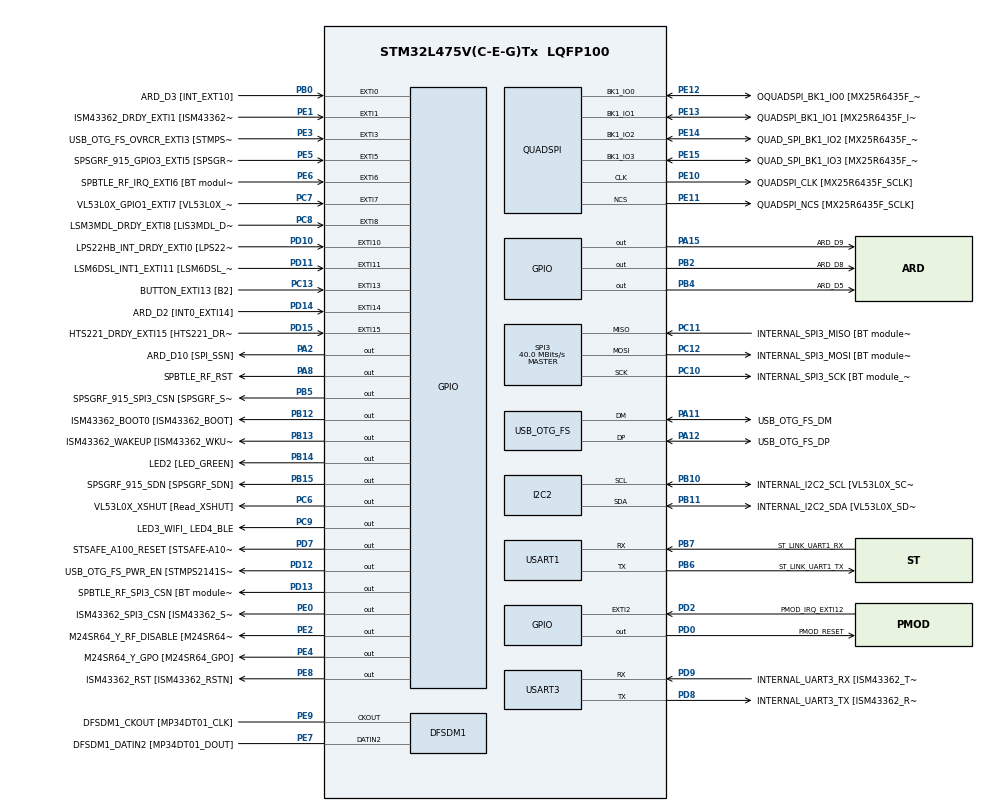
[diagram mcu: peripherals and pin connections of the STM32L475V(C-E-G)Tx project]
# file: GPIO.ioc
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Mcu.Family=STM32L4
Mcu.Name=STM32L475V(C-E-G)Tx
Mcu.Package=LQFP100
NVIC.EXTI15_10_IRQn=true\:0\:0\:false\:false\:true\:true\:true\:true
NVIC.EXTI9_5_IRQn=true\:0\:0\:false\:false\:true\:true\:true\:true
NVIC.PriorityGroup=NVIC_PRIORITYGROUP_4
PA0.GPIO_Label=ARD_D1 [UART4_TX]
PA0.Signal=UART4_TX
PA1.GPIO_Label=ARD_D0 [UART4_RX]
PA1.Signal=UART4_RX
PA10.GPIO_Label=USB_OTG_FS_ID
PA10.Signal=USB_OTG_FS_ID
PA11.GPIO_Label=USB_OTG_FS_DM
PA11.Mode=Device_Only
PA11.Signal=USB_OTG_FS_DM
PA12.GPIO_Label=USB_OTG_FS_DP
PA12.Mode=Device_Only
PA12.Signal=USB_OTG_FS_DP
PA13\ (JTMS-SWDIO).GPIO_Label=SYS_JTMS_SWDIO
PA13\ (JTMS-SWDIO).Mode=Serial_Wire
PA13\ (JTMS-SWDIO).Signal=SYS_JTMS-SWDIO
PA14\ (JTCK-SWCLK).GPIO_Label=SYS_JTCK_SWCLK
PA14\ (JTCK-SWCLK).Mode=Serial_Wire
PA14\ (JTCK-SWCLK).Signal=SYS_JTCK-SWCLK
PA15\ (JTDI).GPIO_Label=ARD_D9
PA15\ (JTDI).Signal=GPIO_Output
PA2.GPIO_Label=ARD_D10 [SPI_SSN]
PA2.Signal=GPIO_Output
PA3.GPIO_Label=ARD_D4
PA3.Signal=S_TIM2_CH4
PA4.GPIO_Label=ARD_D7
PA4.Signal=ADCx_IN9
PA5.GPIO_Label=ARD_D13 [SPI1_SCK]
PA5.Signal=SPI1_SCK
PA6.GPIO_Label=ARD_D12 [SPI1_MISO]
PA6.Signal=SPI1_MISO
PA7.GPIO_Label=ARD_D11 [SPI1_MOSI]
PA7.Signal=SPI1_MOSI
PA8.GPIO_Label=SPBTLE_RF_RST
PA8.Signal=GPIO_Output
PA9.GPIO_Label=USB_OTG_FS_VBUS [STMPS2141STR_OUT]
PA9.Signal=USB_OTG_FS_VBUS
PB0.GPIO_Label=ARD_D3 [INT_EXT10]
PB0.Signal=GPXTI0
PB1.GPIO_Label=ARD_D6 [ADC1_IN6]
PB1.Signal=ADCx_IN16
PB10.GPIO_Label=INTERNAL_I2C2_SCL [VL53L0X_SCL]
PB10.GPIO_Pu=GPIO_PULLUP
PB10.Mode=I2C
PB10.Signal=I2C2_SCL
PB11.GPIO_Label=INTERNAL_I2C2_SDA [VL53L0X_SDA]
PB11.GPIO_Pu=GPIO_PULLUP
PB11.Mode=I2C
PB11.Signal=I2C2_SDA
PB12.GPIO_Label=ISM43362_BOOT0 [ISM43362_BOOT]
PB12.Signal=GPIO_Output
PB13.GPIO_Label=ISM43362_WAKEUP [ISM43362_WKUP]
PB13.Signal=GPIO_Output
PB14.GPIO_Label=LED2 [LED_GREEN]
PB14.Signal=GPIO_Output
PB15.GPIO_Label=SPSGRF_915_SDN [SPSGRF_SDN]
PB15.Signal=GPIO_Output
PB2.GPIO_Label=ARD_D8
PB2.Signal=GPIO_Output
PB3\ (JTDO-TRACESWO).GPIO_Label=SYS_JTD0_SWO
PB3\ (JTDO-TRACESWO).Signal=SYS_JTDO-SWO
PB4\ (NJTRST).GPIO_Label=ARD_D5
PB4\ (NJTRST).Signal=GPIO_Output
PB5.GPIO_Label=SPSGRF_915_SPI3_CSN [SPSGRF_SPI_CS]
PB5.PinState=GPIO_PIN_SET
PB5.Signal=GPIO_Output
PB6.GPIO_Label=ST_LINK_UART1_TX
PB6.Mode=Asynchronous
PB6.Signal=USART1_TX
PB7.GPIO_Label=ST_LINK_UART1_RX
PB7.Mode=Asynchronous
PB7.Signal=USART1_RX
PB8.GPIO_Label=ARD_D15 [I2C1_SCL]
PB8.Signal=I2C1_SCL
PB9.GPIO_Label=ARD_D14 [I2C1_SDA]
PB9.Signal=I2C1_SDA
PC0.GPIO_Label=ARD_A5 [ADC]
PC0.Signal=ADCx_IN1
PC1.GPIO_Label=ARD_A4 [ADC]
PC1.Signal=ADCx_IN2
PC10.GPIO_Label=INTERNAL_SPI3_SCK [BT module_SPI_SCLK] [ISM43362_SCK]
PC10.Mode=Full_Duplex_Master
PC10.Signal=SPI3_SCK
PC11.GPIO_Label=INTERNAL_SPI3_MISO [BT module_SPI_MISO] [ISM43362_MISO]
PC11.Mode=Full_Duplex_Master
PC11.Signal=SPI3_MISO
PC12.GPIO_Label=INTERNAL_SPI3_MOSI [BT module_SPI_MOSI] [ISM43362_MOSI]
PC12.Mode=Full_Duplex_Master
PC12.Signal=SPI3_MOSI
PC13.GPIO_Label=BUTTON_EXTI13 [B2]
PC13.GPIO_ModeDefaultEXTI=GPIO_MODE_IT_FALLING
PC13.Signal=GPXTI13
PC14-OSC32_IN\ (PC14).Mode=LSE-External-Oscillator
PC14-OSC32_IN\ (PC14).Signal=RCC_OSC32_IN
PC15-OSC32_OUT\ (PC15).Mode=LSE-External-Oscillator
PC15-OSC32_OUT\ (PC15).Signal=RCC_OSC32_OUT
PC2.GPIO_Label=ARD_A3 [ADC]
PC2.Signal=ADCx_IN3
PC3.GPIO_Label=ARD_A2 [ADC]
PC3.Signal=ADCx_IN4
PC4.GPIO_Label=ARD_A1 [ADC]
PC4.Signal=ADCx_IN13
PC5.GPIO_Label=ARD_A0 [ADC]
PC5.Signal=ADCx_IN14
PC6.GPIO_Label=VL53L0X_XSHUT [Read_XSHUT]
PC6.Signal=GPIO_Output
PC7.GPIO_Label=VL53L0X_GPIO1_EXTI7 [VL53L0X_GPIO1]
PC7.Signal=GPXTI7
PC8.GPIO_Label=LSM3MDL_DRDY_EXTI8 [LIS3MDL_DRDY]
PC8.Signal=GPXTI8
PC9.GPIO_Label=LED3_WIFI_ LED4_BLE
PC9.Signal=GPIO_Output
PD0.GPIO_Label=PMOD_RESET
PD0.Signal=GPIO_Output
PD1.GPIO_Label=PMOD_SPI2_SCK
PD1.Signal=SPI2_SCK
PD10.GPIO_Label=LPS22HB_INT_DRDY_EXTI0 [LPS22HB_INT_DRDY] 
PD10.Signal=GPXTI10
PD11.GPIO_Label=LSM6DSL_INT1_EXTI11 [LSM6DSL_INT1]
PD11.Signal=GPXTI11
PD12.GPIO_Label=USB_OTG_FS_PWR_EN [STMPS2141STR_EN]
PD12.Signal=GPIO_Output
PD13.GPIO_Label=SPBTLE_RF_SPI3_CSN [BT module_SPI_CS]
PD13.PinState=GPIO_PIN_SET
PD13.Signal=GPIO_Output
PD14.GPIO_Label=ARD_D2 [INT0_EXTI14]
PD14.Signal=GPXTI14
PD15.GPIO_Label=HTS221_DRDY_EXTI15 [HTS221_DRDY]
PD15.Signal=GPXTI15
PD2.GPIO_Label=PMOD_IRQ_EXTI12
PD2.Signal=GPXTI2
PD3.GPIO_Label=PMOD_UART2_CTS
PD3.Signal=USART2_CTS
PD4.GPIO_Label=PMOD_UART2_RTS
PD4.Signal=USART2_RTS
PD5.GPIO_Label=PMOD_UART2_TX
PD5.Signal=USART2_TX
PD6.GPIO_Label=PMOD_UART2_RX
PD6.Signal=USART2_RX
PD7.GPIO_Label=STSAFE_A100_RESET [STSAFE-A100_RESET]
PD7.Signal=GPIO_Output
PD8.GPIO_Label=INTERNAL_UART3_TX [ISM43362_RX]
PD8.Mode=Asynchronous
PD8.Signal=USART3_TX
PD9.GPIO_Label=INTERNAL_UART3_RX [ISM43362_TX]
PD9.Mode=Asynchronous
PD9.Signal=USART3_RX
PE0.GPIO_Label=ISM43362_SPI3_CSN [ISM43362_SSN]
PE0.PinState=GPIO_PIN_SET
PE0.Signal=GPIO_Output
PE1.GPIO_Label=ISM43362_DRDY_EXTI1 [ISM43362_DATARDY]
PE1.Signal=GPXTI1
PE10.GPIO_Label=QUADSPI_CLK [MX25R6435F_SCLK]
PE10.Mode=Single Bank
PE10.Signal=QUADSPI_CLK
PE11.GPIO_Label=QUADSPI_NCS [MX25R6435F_SCLK]
PE11.Mode=Single Bank
PE11.Signal=QUADSPI_NCS
PE12.GPIO_Label=OQUADSPI_BK1_IO0 [MX25R6435F_IO0]
PE12.Mode=Single Bank
PE12.Signal=QUADSPI_BK1_IO0
PE13.GPIO_Label=QUADSPI_BK1_IO1 [MX25R6435F_IO1]
PE13.Mode=Single Bank
PE13.Signal=QUADSPI_BK1_IO1
PE14.GPIO_Label=QUAD_SPI_BK1_IO2 [MX25R6435F_IO2]
PE14.Mode=Single Bank
PE14.Signal=QUADSPI_BK1_IO2
PE15.GPIO_Label=QUAD_SPI_BK1_IO3 [MX25R6435F_IO3]
PE15.Mode=Single Bank
PE15.Signal=QUADSPI_BK1_IO3
PE2.GPIO_Label=M24SR64_Y_RF_DISABLE [M24SR64_RFDIS]
PE2.Signal=GPIO_Output
PE3.GPIO_Label=USB_OTG_FS_OVRCR_EXTI3 [STMPS2141STR_FAULT]
PE3.Signal=GPXTI3
PE4.GPIO_Label=M24SR64_Y_GPO [M24SR64_GPO]
PE4.Signal=GPIO_Output
PE5.GPIO_Label=SPSGRF_915_GPIO3_EXTI5 [SPSGRF_GPIO_3]
PE5.Signal=GPXTI5
PE6.GPIO_Label=SPBTLE_RF_IRQ_EXTI6 [BT module_SPI_IRQ]
PE6.Signal=GPXTI6
PE7.GPIO_Label=DFSDM1_DATIN2 [MP34DT01_DOUT]
PE7.Signal=S_DATAIN2DFSDM1
PE8.GPIO_Label=ISM43362_RST [ISM43362_RSTN]
PE8.Signal=GPIO_Output
PE9.GPIO_Label=DFSDM1_CKOUT [MP34DT01_CLK]
PE9.Signal=S_CKOUTDFSDM1
ProjectManager.HeapSize=0x200
ProjectManager.StackSize=0x400
ProjectManager.TargetToolchain=STM32CubeIDE
QUADSPI.ClockPrescaler=2
QUADSPI.FifoThreshold=4
QUADSPI.FlashSize=23
QUADSPI.SampleShifting=QSPI_SAMPLE_SHIFTING_HALFCYCLE
RCC.ADCFreq_Value=48000000
RCC.AHBFreq_Value=80000000
RCC.APB1Freq_Value=80000000
RCC.APB1TimFreq_Value=80000000
RCC.APB2Freq_Value=80000000
RCC.APB2TimFreq_Value=80000000
RCC.CortexFreq_Value=80000000
RCC.HCLKFreq_Value=80000000
RCC.HSE_VALUE=8000000
RCC.HSI_VALUE=16000000
RCC.MSI_VALUE=4000000
RCC.PLLN=40
RCC.PLLSAI1N=24
RCC.SYSCLKFreq_VALUE=80000000
RCC.SYSCLKSource=RCC_SYSCLKSOURCE_PLLCLK
RCC.USBFreq_Value=48000000
RCC.VCOOutputFreq_Value=160000000
SH.ADCx_IN1.0=ADC1_IN1
SH.ADCx_IN13.0=ADC1_IN13
SH.ADCx_IN14.0=ADC1_IN14
SH.ADCx_IN16.0=ADC1_IN16
SH.ADCx_IN2.0=ADC1_IN2
SH.ADCx_IN3.0=ADC1_IN3
SH.ADCx_IN4.0=ADC1_IN4
SH.ADCx_IN9.0=ADC1_IN9
SH.S_CKOUTDFSDM1.0=DFSDM1_CKOUT,CKOUT
SH.S_CKOUTDFSDM1.1=DFSDM1_CKOUT,PDM_SPI_Input_from_ch12_and_Internal_Clock
SH.S_DATAIN2DFSDM1.0=DFSDM1_DATIN2,PDM_SPI_Input_from_ch12_and_Internal_Clock
SH.S_TIM2_CH4.0=TIM2_CH4
SPI3.CalculateBaudRate=40.0 MBits/s
SPI3.Direction=SPI_DIRECTION_2LINES
SPI3.Mode=SPI_MODE_MASTER
SPI3.VirtualType=VM_MASTER
USART1.VirtualMode-Asynchronous=VM_ASYNC
USART3.VirtualMode-Asynchronous=VM_ASYNC
USB_OTG_FS.VirtualMode=Device_Only
board=B-L475E-IOT01A1

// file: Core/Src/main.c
/* USER CODE BEGIN Header */
/**
  ******************************************************************************
  * @file           : main.c
  * @brief          : Main program body
  ******************************************************************************
  * @attention
  *
  * Copyright (c) 2025 STMicroelectronics.
  * All rights reserved.
  *
  * This software is licensed under terms that can be found in the LICENSE file
  * in the root directory of this software component.
  * If no LICENSE file comes with this software, it is provided AS-IS.
  *
  ******************************************************************************
  */
/* USER CODE END Header */
#include "main.h"

DFSDM_Channel_HandleTypeDef hdfsdm1_channel1;

QSPI_HandleTypeDef hqspi;

PCD_HandleTypeDef hpcd_USB_OTG_FS;

void SystemClock_Config(void);
void PeriphCommonClock_Config(void);
static void MX_GPIO_Init(void);
static void MX_DFSDM1_Init(void);
static void MX_I2C2_Init(void);
static void MX_QUADSPI_Init(void);
static void MX_SPI3_Init(void);
static void MX_USART1_UART_Init(void);
static void MX_USART3_UART_Init(void);
static void MX_USB_OTG_FS_PCD_Init(void);

/* USER CODE BEGIN 0 */
void GPIO_SetPinOn(GPIO_TypeDef *GPIOx, uint32_t PinMask)
{
  uint32_t odr = READ_REG(GPIOx->ODR);
  // OR function will always set the bit
  WRITE_REG(GPIOx->BSRR, ((odr & PinMask) << 16u) | PinMask);
}

void GPIO_SetPinOff(GPIO_TypeDef *GPIOx, uint32_t PinMask)
{
  uint32_t odr = READ_REG(GPIOx->ODR);
  // OR function will always clear the bit
  WRITE_REG(GPIOx->BSRR, ((odr & PinMask) << 16u) & ~PinMask);
}
/* USER CODE END 0 */

int main(void)
{

  /* MCU Configuration--------------------------------------------------------*/

  /* Reset of all peripherals, Initializes the Flash interface and the Systick. */
  HAL_Init();

  /* Configure the system clock */
  SystemClock_Config();

  /* Configure the peripherals common clocks */
  PeriphCommonClock_Config();

  /* Initialize all configured peripherals */
  MX_GPIO_Init();
  MX_DFSDM1_Init();
  MX_I2C2_Init();
  MX_QUADSPI_Init();
  MX_SPI3_Init();
  MX_USART1_UART_Init();
  MX_USART3_UART_Init();
  MX_USB_OTG_FS_PCD_Init();
  /* USER CODE BEGIN 2 */

  // Get flash size
  uint32_t flash_size = LL_GetFlashSize();

  // Get unique device id (combined number produce a 96-bit UID)
  uint32_t device_id_word0 = LL_GetUID_Word0;
  uint32_t device_id_word1 = LL_GetUID_Word1;
  uint32_t device_id_word2 = LL_GetUID_Word2;

  uint32_t idr = 0;
  /* USER CODE END 2 */

  /* Infinite loop */
  while (1)
  {

    /* USER CODE BEGIN 3 */

	  // Read from the Input Data Register for the "blue" button
	  idr = READ_REG(BUTTON_EXTI13_GPIO_Port->IDR);
	  // The button voltage is pulled up when the button is off (which is equivalent to a value of 1 or "true")
	  // The button pin mask is used to read that specific bit
	  if(idr & BUTTON_EXTI13_Pin){
		  GPIO_SetPinOff(LED2_GPIO_Port, LED2_Pin);
	  } else {
	  // The button voltage is pulled down to ground when the button is pressed (which is equivalent to a value of 0 or "false")
		  GPIO_SetPinOn(LED2_GPIO_Port, LED2_Pin);
	  }
  }
  /* USER CODE END 3 */
}

void SystemClock_Config(void)
{
  LL_FLASH_SetLatency(LL_FLASH_LATENCY_4);
  while(LL_FLASH_GetLatency()!= LL_FLASH_LATENCY_4)
  {
  }
  LL_PWR_SetRegulVoltageScaling(LL_PWR_REGU_VOLTAGE_SCALE1);
  while (LL_PWR_IsActiveFlag_VOS() != 0)
  {
  }
  LL_RCC_MSI_Enable();

   /* Wait till MSI is ready */
  while(LL_RCC_MSI_IsReady() != 1)
  {

  }
  LL_RCC_MSI_EnableRangeSelection();
  LL_RCC_MSI_SetRange(LL_RCC_MSIRANGE_6);
  LL_RCC_MSI_SetCalibTrimming(0);
  LL_PWR_EnableBkUpAccess();
  LL_RCC_LSE_SetDriveCapability(LL_RCC_LSEDRIVE_LOW);
  LL_RCC_LSE_Enable();

   /* Wait till LSE is ready */
  while(LL_RCC_LSE_IsReady() != 1)
  {

  }
  LL_RCC_MSI_EnablePLLMode();
  LL_RCC_PLL_ConfigDomain_SYS(LL_RCC_PLLSOURCE_MSI, LL_RCC_PLLM_DIV_1, 40, LL_RCC_PLLR_DIV_2);
  LL_RCC_PLL_EnableDomain_SYS();
  LL_RCC_PLL_Enable();

   /* Wait till PLL is ready */
  while(LL_RCC_PLL_IsReady() != 1)
  {

  }
  LL_RCC_SetSysClkSource(LL_RCC_SYS_CLKSOURCE_PLL);

   /* Wait till System clock is ready */
  while(LL_RCC_GetSysClkSource() != LL_RCC_SYS_CLKSOURCE_STATUS_PLL)
  {

  }
  LL_RCC_SetAHBPrescaler(LL_RCC_SYSCLK_DIV_1);
  LL_RCC_SetAPB1Prescaler(LL_RCC_APB1_DIV_1);
  LL_RCC_SetAPB2Prescaler(LL_RCC_APB2_DIV_1);
  LL_SetSystemCoreClock(80000000);

   /* Update the time base */
  if (HAL_InitTick (TICK_INT_PRIORITY) != HAL_OK)
  {
    Error_Handler();
  }
}

void PeriphCommonClock_Config(void)
{
  LL_RCC_PLLSAI1_ConfigDomain_48M(LL_RCC_PLLSOURCE_MSI, LL_RCC_PLLM_DIV_1, 24, LL_RCC_PLLSAI1Q_DIV_2);
  LL_RCC_PLLSAI1_EnableDomain_48M();
  LL_RCC_PLLSAI1_Enable();

   /* Wait till PLLSAI1 is ready */
  while(LL_RCC_PLLSAI1_IsReady() != 1)
  {

  }
}

static void MX_DFSDM1_Init(void)
{

  hdfsdm1_channel1.Instance = DFSDM1_Channel1;
  hdfsdm1_channel1.Init.OutputClock.Activation = ENABLE;
  hdfsdm1_channel1.Init.OutputClock.Selection = DFSDM_CHANNEL_OUTPUT_CLOCK_SYSTEM;
  hdfsdm1_channel1.Init.OutputClock.Divider = 2;
  hdfsdm1_channel1.Init.Input.Multiplexer = DFSDM_CHANNEL_EXTERNAL_INPUTS;
  hdfsdm1_channel1.Init.Input.DataPacking = DFSDM_CHANNEL_STANDARD_MODE;
  hdfsdm1_channel1.Init.Input.Pins = DFSDM_CHANNEL_FOLLOWING_CHANNEL_PINS;
  hdfsdm1_channel1.Init.SerialInterface.Type = DFSDM_CHANNEL_SPI_RISING;
  hdfsdm1_channel1.Init.SerialInterface.SpiClock = DFSDM_CHANNEL_SPI_CLOCK_INTERNAL;
  hdfsdm1_channel1.Init.Awd.FilterOrder = DFSDM_CHANNEL_FASTSINC_ORDER;
  hdfsdm1_channel1.Init.Awd.Oversampling = 1;
  hdfsdm1_channel1.Init.Offset = 0;
  hdfsdm1_channel1.Init.RightBitShift = 0x00;
  if (HAL_DFSDM_ChannelInit(&hdfsdm1_channel1) != HAL_OK)
  {
    Error_Handler();
  }

}

static void MX_I2C2_Init(void)
{

  LL_I2C_InitTypeDef I2C_InitStruct = {0};

  LL_GPIO_InitTypeDef GPIO_InitStruct = {0};

  LL_RCC_SetI2CClockSource(LL_RCC_I2C2_CLKSOURCE_PCLK1);

  LL_AHB2_GRP1_EnableClock(LL_AHB2_GRP1_PERIPH_GPIOB);
  /**I2C2 GPIO Configuration
  PB10   ------> I2C2_SCL
  PB11   ------> I2C2_SDA
  */
  GPIO_InitStruct.Pin = INTERNAL_I2C2_SCL_Pin|INTERNAL_I2C2_SDA_Pin;
  GPIO_InitStruct.Mode = LL_GPIO_MODE_ALTERNATE;
  GPIO_InitStruct.Speed = LL_GPIO_SPEED_FREQ_VERY_HIGH;
  GPIO_InitStruct.OutputType = LL_GPIO_OUTPUT_OPENDRAIN;
  GPIO_InitStruct.Pull = LL_GPIO_PULL_UP;
  GPIO_InitStruct.Alternate = LL_GPIO_AF_4;
  LL_GPIO_Init(GPIOB, &GPIO_InitStruct);

  /* Peripheral clock enable */
  LL_APB1_GRP1_EnableClock(LL_APB1_GRP1_PERIPH_I2C2);

  /** I2C Initialization
  */
  LL_I2C_EnableAutoEndMode(I2C2);
  LL_I2C_DisableOwnAddress2(I2C2);
  LL_I2C_DisableGeneralCall(I2C2);
  LL_I2C_EnableClockStretching(I2C2);
  I2C_InitStruct.PeripheralMode = LL_I2C_MODE_I2C;
  I2C_InitStruct.Timing = 0x00000E14;
  I2C_InitStruct.AnalogFilter = LL_I2C_ANALOGFILTER_ENABLE;
  I2C_InitStruct.DigitalFilter = 0;
  I2C_InitStruct.OwnAddress1 = 0;
  I2C_InitStruct.TypeAcknowledge = LL_I2C_ACK;
  I2C_InitStruct.OwnAddrSize = LL_I2C_OWNADDRESS1_7BIT;
  LL_I2C_Init(I2C2, &I2C_InitStruct);
  LL_I2C_SetOwnAddress2(I2C2, 0, LL_I2C_OWNADDRESS2_NOMASK);

}

static void MX_QUADSPI_Init(void)
{

  /* QUADSPI parameter configuration*/
  hqspi.Instance = QUADSPI;
  hqspi.Init.ClockPrescaler = 2;
  hqspi.Init.FifoThreshold = 4;
  hqspi.Init.SampleShifting = QSPI_SAMPLE_SHIFTING_HALFCYCLE;
  hqspi.Init.FlashSize = 23;
  hqspi.Init.ChipSelectHighTime = QSPI_CS_HIGH_TIME_1_CYCLE;
  hqspi.Init.ClockMode = QSPI_CLOCK_MODE_0;
  if (HAL_QSPI_Init(&hqspi) != HAL_OK)
  {
    Error_Handler();
  }

}

static void MX_SPI3_Init(void)
{

  LL_SPI_InitTypeDef SPI_InitStruct = {0};

  LL_GPIO_InitTypeDef GPIO_InitStruct = {0};

  /* Peripheral clock enable */
  LL_APB1_GRP1_EnableClock(LL_APB1_GRP1_PERIPH_SPI3);

  LL_AHB2_GRP1_EnableClock(LL_AHB2_GRP1_PERIPH_GPIOC);
  /**SPI3 GPIO Configuration
  PC10   ------> SPI3_SCK
  PC11   ------> SPI3_MISO
  PC12   ------> SPI3_MOSI
  */
  GPIO_InitStruct.Pin = INTERNAL_SPI3_SCK_Pin|INTERNAL_SPI3_MISO_Pin|INTERNAL_SPI3_MOSI_Pin;
  GPIO_InitStruct.Mode = LL_GPIO_MODE_ALTERNATE;
  GPIO_InitStruct.Speed = LL_GPIO_SPEED_FREQ_VERY_HIGH;
  GPIO_InitStruct.OutputType = LL_GPIO_OUTPUT_PUSHPULL;
  GPIO_InitStruct.Pull = LL_GPIO_PULL_NO;
  GPIO_InitStruct.Alternate = LL_GPIO_AF_6;
  LL_GPIO_Init(GPIOC, &GPIO_InitStruct);

  /* SPI3 parameter configuration*/
  SPI_InitStruct.TransferDirection = LL_SPI_FULL_DUPLEX;
  SPI_InitStruct.Mode = LL_SPI_MODE_MASTER;
  SPI_InitStruct.DataWidth = LL_SPI_DATAWIDTH_4BIT;
  SPI_InitStruct.ClockPolarity = LL_SPI_POLARITY_LOW;
  SPI_InitStruct.ClockPhase = LL_SPI_PHASE_1EDGE;
  SPI_InitStruct.NSS = LL_SPI_NSS_SOFT;
  SPI_InitStruct.BaudRate = LL_SPI_BAUDRATEPRESCALER_DIV2;
  SPI_InitStruct.BitOrder = LL_SPI_MSB_FIRST;
  SPI_InitStruct.CRCCalculation = LL_SPI_CRCCALCULATION_DISABLE;
  SPI_InitStruct.CRCPoly = 7;
  LL_SPI_Init(SPI3, &SPI_InitStruct);
  LL_SPI_SetStandard(SPI3, LL_SPI_PROTOCOL_MOTOROLA);
  LL_SPI_EnableNSSPulseMgt(SPI3);

}

static void MX_USART1_UART_Init(void)
{

  LL_USART_InitTypeDef USART_InitStruct = {0};

  LL_GPIO_InitTypeDef GPIO_InitStruct = {0};

  LL_RCC_SetUSARTClockSource(LL_RCC_USART1_CLKSOURCE_PCLK2);

  /* Peripheral clock enable */
  LL_APB2_GRP1_EnableClock(LL_APB2_GRP1_PERIPH_USART1);

  LL_AHB2_GRP1_EnableClock(LL_AHB2_GRP1_PERIPH_GPIOB);
  /**USART1 GPIO Configuration
  PB6   ------> USART1_TX
  PB7   ------> USART1_RX
  */
  GPIO_InitStruct.Pin = ST_LINK_UART1_TX_Pin|ST_LINK_UART1_RX_Pin;
  GPIO_InitStruct.Mode = LL_GPIO_MODE_ALTERNATE;
  GPIO_InitStruct.Speed = LL_GPIO_SPEED_FREQ_VERY_HIGH;
  GPIO_InitStruct.OutputType = LL_GPIO_OUTPUT_PUSHPULL;
  GPIO_InitStruct.Pull = LL_GPIO_PULL_NO;
  GPIO_InitStruct.Alternate = LL_GPIO_AF_7;
  LL_GPIO_Init(GPIOB, &GPIO_InitStruct);

  USART_InitStruct.BaudRate = 115200;
  USART_InitStruct.DataWidth = LL_USART_DATAWIDTH_8B;
  USART_InitStruct.StopBits = LL_USART_STOPBITS_1;
  USART_InitStruct.Parity = LL_USART_PARITY_NONE;
  USART_InitStruct.TransferDirection = LL_USART_DIRECTION_TX_RX;
  USART_InitStruct.HardwareFlowControl = LL_USART_HWCONTROL_NONE;
  USART_InitStruct.OverSampling = LL_USART_OVERSAMPLING_16;
  LL_USART_Init(USART1, &USART_InitStruct);
  LL_USART_ConfigAsyncMode(USART1);
  LL_USART_Enable(USART1);

}

static void MX_USART3_UART_Init(void)
{

  LL_USART_InitTypeDef USART_InitStruct = {0};

  LL_GPIO_InitTypeDef GPIO_InitStruct = {0};

  LL_RCC_SetUSARTClockSource(LL_RCC_USART3_CLKSOURCE_PCLK1);

  /* Peripheral clock enable */
  LL_APB1_GRP1_EnableClock(LL_APB1_GRP1_PERIPH_USART3);

  LL_AHB2_GRP1_EnableClock(LL_AHB2_GRP1_PERIPH_GPIOD);
  /**USART3 GPIO Configuration
  PD8   ------> USART3_TX
  PD9   ------> USART3_RX
  */
  GPIO_InitStruct.Pin = INTERNAL_UART3_TX_Pin|INTERNAL_UART3_RX_Pin;
  GPIO_InitStruct.Mode = LL_GPIO_MODE_ALTERNATE;
  GPIO_InitStruct.Speed = LL_GPIO_SPEED_FREQ_VERY_HIGH;
  GPIO_InitStruct.OutputType = LL_GPIO_OUTPUT_PUSHPULL;
  GPIO_InitStruct.Pull = LL_GPIO_PULL_NO;
  GPIO_InitStruct.Alternate = LL_GPIO_AF_7;
  LL_GPIO_Init(GPIOD, &GPIO_InitStruct);

  USART_InitStruct.BaudRate = 115200;
  USART_InitStruct.DataWidth = LL_USART_DATAWIDTH_8B;
  USART_InitStruct.StopBits = LL_USART_STOPBITS_1;
  USART_InitStruct.Parity = LL_USART_PARITY_NONE;
  USART_InitStruct.TransferDirection = LL_USART_DIRECTION_TX_RX;
  USART_InitStruct.HardwareFlowControl = LL_USART_HWCONTROL_NONE;
  USART_InitStruct.OverSampling = LL_USART_OVERSAMPLING_16;
  LL_USART_Init(USART3, &USART_InitStruct);
  LL_USART_ConfigAsyncMode(USART3);
  LL_USART_Enable(USART3);

}

static void MX_USB_OTG_FS_PCD_Init(void)
{

  hpcd_USB_OTG_FS.Instance = USB_OTG_FS;
  hpcd_USB_OTG_FS.Init.dev_endpoints = 6;
  hpcd_USB_OTG_FS.Init.speed = PCD_SPEED_FULL;
  hpcd_USB_OTG_FS.Init.phy_itface = PCD_PHY_EMBEDDED;
  hpcd_USB_OTG_FS.Init.Sof_enable = DISABLE;
  hpcd_USB_OTG_FS.Init.low_power_enable = DISABLE;
  hpcd_USB_OTG_FS.Init.lpm_enable = DISABLE;
  hpcd_USB_OTG_FS.Init.battery_charging_enable = DISABLE;
  hpcd_USB_OTG_FS.Init.use_dedicated_ep1 = DISABLE;
  hpcd_USB_OTG_FS.Init.vbus_sensing_enable = DISABLE;
  if (HAL_PCD_Init(&hpcd_USB_OTG_FS) != HAL_OK)
  {
    Error_Handler();
  }

}

static void MX_GPIO_Init(void)
{
  LL_EXTI_InitTypeDef EXTI_InitStruct = {0};
  LL_GPIO_InitTypeDef GPIO_InitStruct = {0};

  /* GPIO Ports Clock Enable */
  LL_AHB2_GRP1_EnableClock(LL_AHB2_GRP1_PERIPH_GPIOE);
  LL_AHB2_GRP1_EnableClock(LL_AHB2_GRP1_PERIPH_GPIOC);
  LL_AHB2_GRP1_EnableClock(LL_AHB2_GRP1_PERIPH_GPIOA);
  LL_AHB2_GRP1_EnableClock(LL_AHB2_GRP1_PERIPH_GPIOB);
  LL_AHB2_GRP1_EnableClock(LL_AHB2_GRP1_PERIPH_GPIOD);

  /**/
  LL_GPIO_ResetOutputPin(GPIOE, M24SR64_Y_RF_DISABLE_Pin|M24SR64_Y_GPO_Pin|ISM43362_RST_Pin);

  /**/
  LL_GPIO_ResetOutputPin(GPIOA, ARD_D10_Pin|SPBTLE_RF_RST_Pin|ARD_D9_Pin);

  /**/
  LL_GPIO_ResetOutputPin(GPIOB, ARD_D8_Pin|ISM43362_BOOT0_Pin|ISM43362_WAKEUP_Pin|LED2_Pin
                          |SPSGRF_915_SDN_Pin|ARD_D5_Pin);

  /**/
  LL_GPIO_ResetOutputPin(GPIOD, USB_OTG_FS_PWR_EN_Pin|PMOD_RESET_Pin|STSAFE_A100_RESET_Pin);

  /**/
  LL_GPIO_ResetOutputPin(GPIOC, VL53L0X_XSHUT_Pin|LED3_WIFI__LED4_BLE_Pin);

  /**/
  LL_GPIO_SetOutputPin(SPBTLE_RF_SPI3_CSN_GPIO_Port, SPBTLE_RF_SPI3_CSN_Pin);

  /**/
  LL_GPIO_SetOutputPin(SPSGRF_915_SPI3_CSN_GPIO_Port, SPSGRF_915_SPI3_CSN_Pin);

  /**/
  LL_GPIO_SetOutputPin(ISM43362_SPI3_CSN_GPIO_Port, ISM43362_SPI3_CSN_Pin);

  /**/
  GPIO_InitStruct.Pin = M24SR64_Y_RF_DISABLE_Pin|M24SR64_Y_GPO_Pin|ISM43362_RST_Pin|ISM43362_SPI3_CSN_Pin;
  GPIO_InitStruct.Mode = LL_GPIO_MODE_OUTPUT;
  GPIO_InitStruct.Speed = LL_GPIO_SPEED_FREQ_LOW;
  GPIO_InitStruct.OutputType = LL_GPIO_OUTPUT_PUSHPULL;
  GPIO_InitStruct.Pull = LL_GPIO_PULL_NO;
  LL_GPIO_Init(GPIOE, &GPIO_InitStruct);

  /**/
  GPIO_InitStruct.Pin = ARD_A5_Pin|ARD_A4_Pin|ARD_A3_Pin|ARD_A2_Pin
                          |ARD_A1_Pin|ARD_A0_Pin;
  GPIO_InitStruct.Mode = LL_GPIO_MODE_ANALOG;
  GPIO_InitStruct.Pull = LL_GPIO_PULL_NO;
  LL_GPIO_Init(GPIOC, &GPIO_InitStruct);

  /**/
  GPIO_InitStruct.Pin = ARD_D1_Pin|ARD_D0_Pin;
  GPIO_InitStruct.Mode = LL_GPIO_MODE_ALTERNATE;
  GPIO_InitStruct.Speed = LL_GPIO_SPEED_FREQ_VERY_HIGH;
  GPIO_InitStruct.OutputType = LL_GPIO_OUTPUT_PUSHPULL;
  GPIO_InitStruct.Pull = LL_GPIO_PULL_NO;
  GPIO_InitStruct.Alternate = LL_GPIO_AF_8;
  LL_GPIO_Init(GPIOA, &GPIO_InitStruct);

  /**/
  GPIO_InitStruct.Pin = ARD_D10_Pin|SPBTLE_RF_RST_Pin|ARD_D9_Pin;
  GPIO_InitStruct.Mode = LL_GPIO_MODE_OUTPUT;
  GPIO_InitStruct.Speed = LL_GPIO_SPEED_FREQ_LOW;
  GPIO_InitStruct.OutputType = LL_GPIO_OUTPUT_PUSHPULL;
  GPIO_InitStruct.Pull = LL_GPIO_PULL_NO;
  LL_GPIO_Init(GPIOA, &GPIO_InitStruct);

  /**/
  GPIO_InitStruct.Pin = ARD_D4_Pin;
  GPIO_InitStruct.Mode = LL_GPIO_MODE_ALTERNATE;
  GPIO_InitStruct.Speed = LL_GPIO_SPEED_FREQ_LOW;
  GPIO_InitStruct.OutputType = LL_GPIO_OUTPUT_PUSHPULL;
  GPIO_InitStruct.Pull = LL_GPIO_PULL_NO;
  GPIO_InitStruct.Alternate = LL_GPIO_AF_1;
  LL_GPIO_Init(ARD_D4_GPIO_Port, &GPIO_InitStruct);

  /**/
  GPIO_InitStruct.Pin = ARD_D7_Pin;
  GPIO_InitStruct.Mode = LL_GPIO_MODE_ANALOG;
  GPIO_InitStruct.Pull = LL_GPIO_PULL_NO;
  LL_GPIO_Init(ARD_D7_GPIO_Port, &GPIO_InitStruct);

  /**/
  GPIO_InitStruct.Pin = ARD_D13_Pin|ARD_D12_Pin|ARD_D11_Pin;
  GPIO_InitStruct.Mode = LL_GPIO_MODE_ALTERNATE;
  GPIO_InitStruct.Speed = LL_GPIO_SPEED_FREQ_VERY_HIGH;
  GPIO_InitStruct.OutputType = LL_GPIO_OUTPUT_PUSHPULL;
  GPIO_InitStruct.Pull = LL_GPIO_PULL_NO;
  GPIO_InitStruct.Alternate = LL_GPIO_AF_5;
  LL_GPIO_Init(GPIOA, &GPIO_InitStruct);

  /**/
  GPIO_InitStruct.Pin = ARD_D6_Pin;
  GPIO_InitStruct.Mode = LL_GPIO_MODE_ANALOG;
  GPIO_InitStruct.Pull = LL_GPIO_PULL_NO;
  LL_GPIO_Init(ARD_D6_GPIO_Port, &GPIO_InitStruct);

  /**/
  GPIO_InitStruct.Pin = ARD_D8_Pin|ISM43362_BOOT0_Pin|ISM43362_WAKEUP_Pin|LED2_Pin
                          |SPSGRF_915_SDN_Pin|ARD_D5_Pin|SPSGRF_915_SPI3_CSN_Pin;
  GPIO_InitStruct.Mode = LL_GPIO_MODE_OUTPUT;
  GPIO_InitStruct.Speed = LL_GPIO_SPEED_FREQ_LOW;
  GPIO_InitStruct.OutputType = LL_GPIO_OUTPUT_PUSHPULL;
  GPIO_InitStruct.Pull = LL_GPIO_PULL_NO;
  LL_GPIO_Init(GPIOB, &GPIO_InitStruct);

  /**/
  GPIO_InitStruct.Pin = USB_OTG_FS_PWR_EN_Pin|SPBTLE_RF_SPI3_CSN_Pin|PMOD_RESET_Pin|STSAFE_A100_RESET_Pin;
  GPIO_InitStruct.Mode = LL_GPIO_MODE_OUTPUT;
  GPIO_InitStruct.Speed = LL_GPIO_SPEED_FREQ_LOW;
  GPIO_InitStruct.OutputType = LL_GPIO_OUTPUT_PUSHPULL;
  GPIO_InitStruct.Pull = LL_GPIO_PULL_NO;
  LL_GPIO_Init(GPIOD, &GPIO_InitStruct);

  /**/
  GPIO_InitStruct.Pin = VL53L0X_XSHUT_Pin|LED3_WIFI__LED4_BLE_Pin;
  GPIO_InitStruct.Mode = LL_GPIO_MODE_OUTPUT;
  GPIO_InitStruct.Speed = LL_GPIO_SPEED_FREQ_LOW;
  GPIO_InitStruct.OutputType = LL_GPIO_OUTPUT_PUSHPULL;
  GPIO_InitStruct.Pull = LL_GPIO_PULL_NO;
  LL_GPIO_Init(GPIOC, &GPIO_InitStruct);

  /**/
  GPIO_InitStruct.Pin = PMOD_SPI2_SCK_Pin;
  GPIO_InitStruct.Mode = LL_GPIO_MODE_ALTERNATE;
  GPIO_InitStruct.Speed = LL_GPIO_SPEED_FREQ_VERY_HIGH;
  GPIO_InitStruct.OutputType = LL_GPIO_OUTPUT_PUSHPULL;
  GPIO_InitStruct.Pull = LL_GPIO_PULL_NO;
  GPIO_InitStruct.Alternate = LL_GPIO_AF_5;
  LL_GPIO_Init(PMOD_SPI2_SCK_GPIO_Port, &GPIO_InitStruct);

  /**/
  GPIO_InitStruct.Pin = PMOD_UART2_CTS_Pin|PMOD_UART2_RTS_Pin|PMOD_UART2_TX_Pin|PMOD_UART2_RX_Pin;
  GPIO_InitStruct.Mode = LL_GPIO_MODE_ALTERNATE;
  GPIO_InitStruct.Speed = LL_GPIO_SPEED_FREQ_VERY_HIGH;
  GPIO_InitStruct.OutputType = LL_GPIO_OUTPUT_PUSHPULL;
  GPIO_InitStruct.Pull = LL_GPIO_PULL_NO;
  GPIO_InitStruct.Alternate = LL_GPIO_AF_7;
  LL_GPIO_Init(GPIOD, &GPIO_InitStruct);

  /**/
  GPIO_InitStruct.Pin = ARD_D15_Pin|ARD_D14_Pin;
  GPIO_InitStruct.Mode = LL_GPIO_MODE_ALTERNATE;
  GPIO_InitStruct.Speed = LL_GPIO_SPEED_FREQ_VERY_HIGH;
  GPIO_InitStruct.OutputType = LL_GPIO_OUTPUT_OPENDRAIN;
  GPIO_InitStruct.Pull = LL_GPIO_PULL_NO;
  GPIO_InitStruct.Alternate = LL_GPIO_AF_4;
  LL_GPIO_Init(GPIOB, &GPIO_InitStruct);

  /**/
  LL_SYSCFG_SetEXTISource(LL_SYSCFG_EXTI_PORTE, LL_SYSCFG_EXTI_LINE3);

  /**/
  LL_SYSCFG_SetEXTISource(LL_SYSCFG_EXTI_PORTE, LL_SYSCFG_EXTI_LINE5);

  /**/
  LL_SYSCFG_SetEXTISource(LL_SYSCFG_EXTI_PORTE, LL_SYSCFG_EXTI_LINE6);

  /**/
  LL_SYSCFG_SetEXTISource(LL_SYSCFG_EXTI_PORTC, LL_SYSCFG_EXTI_LINE13);

  /**/
  LL_SYSCFG_SetEXTISource(LL_SYSCFG_EXTI_PORTB, LL_SYSCFG_EXTI_LINE0);

  /**/
  LL_SYSCFG_SetEXTISource(LL_SYSCFG_EXTI_PORTD, LL_SYSCFG_EXTI_LINE10);

  /**/
  LL_SYSCFG_SetEXTISource(LL_SYSCFG_EXTI_PORTD, LL_SYSCFG_EXTI_LINE11);

  /**/
  LL_SYSCFG_SetEXTISource(LL_SYSCFG_EXTI_PORTD, LL_SYSCFG_EXTI_LINE14);

  /**/
  LL_SYSCFG_SetEXTISource(LL_SYSCFG_EXTI_PORTD, LL_SYSCFG_EXTI_LINE15);

  /**/
  LL_SYSCFG_SetEXTISource(LL_SYSCFG_EXTI_PORTC, LL_SYSCFG_EXTI_LINE7);

  /**/
  LL_SYSCFG_SetEXTISource(LL_SYSCFG_EXTI_PORTC, LL_SYSCFG_EXTI_LINE8);

  /**/
  LL_SYSCFG_SetEXTISource(LL_SYSCFG_EXTI_PORTD, LL_SYSCFG_EXTI_LINE2);

  /**/
  LL_SYSCFG_SetEXTISource(LL_SYSCFG_EXTI_PORTE, LL_SYSCFG_EXTI_LINE1);

  /**/
  EXTI_InitStruct.Line_0_31 = LL_EXTI_LINE_3;
  EXTI_InitStruct.Line_32_63 = LL_EXTI_LINE_NONE;
  EXTI_InitStruct.LineCommand = ENABLE;
  EXTI_InitStruct.Mode = LL_EXTI_MODE_IT;
  EXTI_InitStruct.Trigger = LL_EXTI_TRIGGER_RISING;
  LL_EXTI_Init(&EXTI_InitStruct);

  /**/
  EXTI_InitStruct.Line_0_31 = LL_EXTI_LINE_5;
  EXTI_InitStruct.Line_32_63 = LL_EXTI_LINE_NONE;
  EXTI_InitStruct.LineCommand = ENABLE;
  EXTI_InitStruct.Mode = LL_EXTI_MODE_IT;
  EXTI_InitStruct.Trigger = LL_EXTI_TRIGGER_RISING;
  LL_EXTI_Init(&EXTI_InitStruct);

  /**/
  EXTI_InitStruct.Line_0_31 = LL_EXTI_LINE_6;
  EXTI_InitStruct.Line_32_63 = LL_EXTI_LINE_NONE;
  EXTI_InitStruct.LineCommand = ENABLE;
  EXTI_InitStruct.Mode = LL_EXTI_MODE_IT;
  EXTI_InitStruct.Trigger = LL_EXTI_TRIGGER_RISING;
  LL_EXTI_Init(&EXTI_InitStruct);

  /**/
  EXTI_InitStruct.Line_0_31 = LL_EXTI_LINE_13;
  EXTI_InitStruct.Line_32_63 = LL_EXTI_LINE_NONE;
  EXTI_InitStruct.LineCommand = ENABLE;
  EXTI_InitStruct.Mode = LL_EXTI_MODE_IT;
  EXTI_InitStruct.Trigger = LL_EXTI_TRIGGER_FALLING;
  LL_EXTI_Init(&EXTI_InitStruct);

  /**/
  EXTI_InitStruct.Line_0_31 = LL_EXTI_LINE_0;
  EXTI_InitStruct.Line_32_63 = LL_EXTI_LINE_NONE;
  EXTI_InitStruct.LineCommand = ENABLE;
  EXTI_InitStruct.Mode = LL_EXTI_MODE_IT;
  EXTI_InitStruct.Trigger = LL_EXTI_TRIGGER_RISING;
  LL_EXTI_Init(&EXTI_InitStruct);

  /**/
  EXTI_InitStruct.Line_0_31 = LL_EXTI_LINE_10;
  EXTI_InitStruct.Line_32_63 = LL_EXTI_LINE_NONE;
  EXTI_InitStruct.LineCommand = ENABLE;
  EXTI_InitStruct.Mode = LL_EXTI_MODE_IT;
  EXTI_InitStruct.Trigger = LL_EXTI_TRIGGER_RISING;
  LL_EXTI_Init(&EXTI_InitStruct);

  /**/
  EXTI_InitStruct.Line_0_31 = LL_EXTI_LINE_11;
  EXTI_InitStruct.Line_32_63 = LL_EXTI_LINE_NONE;
  EXTI_InitStruct.LineCommand = ENABLE;
  EXTI_InitStruct.Mode = LL_EXTI_MODE_IT;
  EXTI_InitStruct.Trigger = LL_EXTI_TRIGGER_RISING;
  LL_EXTI_Init(&EXTI_InitStruct);

  /**/
  EXTI_InitStruct.Line_0_31 = LL_EXTI_LINE_14;
  EXTI_InitStruct.Line_32_63 = LL_EXTI_LINE_NONE;
  EXTI_InitStruct.LineCommand = ENABLE;
  EXTI_InitStruct.Mode = LL_EXTI_MODE_IT;
  EXTI_InitStruct.Trigger = LL_EXTI_TRIGGER_RISING;
  LL_EXTI_Init(&EXTI_InitStruct);

  /**/
  EXTI_InitStruct.Line_0_31 = LL_EXTI_LINE_15;
  EXTI_InitStruct.Line_32_63 = LL_EXTI_LINE_NONE;
  EXTI_InitStruct.LineCommand = ENABLE;
  EXTI_InitStruct.Mode = LL_EXTI_MODE_IT;
  EXTI_InitStruct.Trigger = LL_EXTI_TRIGGER_RISING;
  LL_EXTI_Init(&EXTI_InitStruct);

  /**/
  EXTI_InitStruct.Line_0_31 = LL_EXTI_LINE_7;
  EXTI_InitStruct.Line_32_63 = LL_EXTI_LINE_NONE;
  EXTI_InitStruct.LineCommand = ENABLE;
  EXTI_InitStruct.Mode = LL_EXTI_MODE_IT;
  EXTI_InitStruct.Trigger = LL_EXTI_TRIGGER_RISING;
  LL_EXTI_Init(&EXTI_InitStruct);

  /**/
  EXTI_InitStruct.Line_0_31 = LL_EXTI_LINE_8;
  EXTI_InitStruct.Line_32_63 = LL_EXTI_LINE_NONE;
  EXTI_InitStruct.LineCommand = ENABLE;
  EXTI_InitStruct.Mode = LL_EXTI_MODE_IT;
  EXTI_InitStruct.Trigger = LL_EXTI_TRIGGER_RISING;
  LL_EXTI_Init(&EXTI_InitStruct);

  /**/
  EXTI_InitStruct.Line_0_31 = LL_EXTI_LINE_2;
  EXTI_InitStruct.Line_32_63 = LL_EXTI_LINE_NONE;
  EXTI_InitStruct.LineCommand = ENABLE;
  EXTI_InitStruct.Mode = LL_EXTI_MODE_IT;
  EXTI_InitStruct.Trigger = LL_EXTI_TRIGGER_RISING;
  LL_EXTI_Init(&EXTI_InitStruct);

  /**/
  EXTI_InitStruct.Line_0_31 = LL_EXTI_LINE_1;
  EXTI_InitStruct.Line_32_63 = LL_EXTI_LINE_NONE;
  EXTI_InitStruct.LineCommand = ENABLE;
  EXTI_InitStruct.Mode = LL_EXTI_MODE_IT;
  EXTI_InitStruct.Trigger = LL_EXTI_TRIGGER_RISING;
  LL_EXTI_Init(&EXTI_InitStruct);

  /**/
  LL_GPIO_SetPinPull(USB_OTG_FS_OVRCR_EXTI3_GPIO_Port, USB_OTG_FS_OVRCR_EXTI3_Pin, LL_GPIO_PULL_NO);

  /**/
  LL_GPIO_SetPinPull(SPSGRF_915_GPIO3_EXTI5_GPIO_Port, SPSGRF_915_GPIO3_EXTI5_Pin, LL_GPIO_PULL_NO);

  /**/
  LL_GPIO_SetPinPull(SPBTLE_RF_IRQ_EXTI6_GPIO_Port, SPBTLE_RF_IRQ_EXTI6_Pin, LL_GPIO_PULL_NO);

  /**/
  LL_GPIO_SetPinPull(BUTTON_EXTI13_GPIO_Port, BUTTON_EXTI13_Pin, LL_GPIO_PULL_NO);

  /**/
  LL_GPIO_SetPinPull(ARD_D3_GPIO_Port, ARD_D3_Pin, LL_GPIO_PULL_NO);

  /**/
  LL_GPIO_SetPinPull(LPS22HB_INT_DRDY_EXTI0_GPIO_Port, LPS22HB_INT_DRDY_EXTI0_Pin, LL_GPIO_PULL_NO);

  /**/
  LL_GPIO_SetPinPull(LSM6DSL_INT1_EXTI11_GPIO_Port, LSM6DSL_INT1_EXTI11_Pin, LL_GPIO_PULL_NO);

  /**/
  LL_GPIO_SetPinPull(ARD_D2_GPIO_Port, ARD_D2_Pin, LL_GPIO_PULL_NO);

  /**/
  LL_GPIO_SetPinPull(HTS221_DRDY_EXTI15_GPIO_Port, HTS221_DRDY_EXTI15_Pin, LL_GPIO_PULL_NO);

  /**/
  LL_GPIO_SetPinPull(VL53L0X_GPIO1_EXTI7_GPIO_Port, VL53L0X_GPIO1_EXTI7_Pin, LL_GPIO_PULL_NO);

  /**/
  LL_GPIO_SetPinPull(LSM3MDL_DRDY_EXTI8_GPIO_Port, LSM3MDL_DRDY_EXTI8_Pin, LL_GPIO_PULL_NO);

  /**/
  LL_GPIO_SetPinPull(PMOD_IRQ_EXTI12_GPIO_Port, PMOD_IRQ_EXTI12_Pin, LL_GPIO_PULL_NO);

  /**/
  LL_GPIO_SetPinPull(ISM43362_DRDY_EXTI1_GPIO_Port, ISM43362_DRDY_EXTI1_Pin, LL_GPIO_PULL_NO);

  /**/
  LL_GPIO_SetPinMode(USB_OTG_FS_OVRCR_EXTI3_GPIO_Port, USB_OTG_FS_OVRCR_EXTI3_Pin, LL_GPIO_MODE_INPUT);

  /**/
  LL_GPIO_SetPinMode(SPSGRF_915_GPIO3_EXTI5_GPIO_Port, SPSGRF_915_GPIO3_EXTI5_Pin, LL_GPIO_MODE_INPUT);

  /**/
  LL_GPIO_SetPinMode(SPBTLE_RF_IRQ_EXTI6_GPIO_Port, SPBTLE_RF_IRQ_EXTI6_Pin, LL_GPIO_MODE_INPUT);

  /**/
  LL_GPIO_SetPinMode(BUTTON_EXTI13_GPIO_Port, BUTTON_EXTI13_Pin, LL_GPIO_MODE_INPUT);

  /**/
  LL_GPIO_SetPinMode(ARD_D3_GPIO_Port, ARD_D3_Pin, LL_GPIO_MODE_INPUT);

  /**/
  LL_GPIO_SetPinMode(LPS22HB_INT_DRDY_EXTI0_GPIO_Port, LPS22HB_INT_DRDY_EXTI0_Pin, LL_GPIO_MODE_INPUT);

  /**/
  LL_GPIO_SetPinMode(LSM6DSL_INT1_EXTI11_GPIO_Port, LSM6DSL_INT1_EXTI11_Pin, LL_GPIO_MODE_INPUT);

  /**/
  LL_GPIO_SetPinMode(ARD_D2_GPIO_Port, ARD_D2_Pin, LL_GPIO_MODE_INPUT);

  /**/
  LL_GPIO_SetPinMode(HTS221_DRDY_EXTI15_GPIO_Port, HTS221_DRDY_EXTI15_Pin, LL_GPIO_MODE_INPUT);

  /**/
  LL_GPIO_SetPinMode(VL53L0X_GPIO1_EXTI7_GPIO_Port, VL53L0X_GPIO1_EXTI7_Pin, LL_GPIO_MODE_INPUT);

  /**/
  LL_GPIO_SetPinMode(LSM3MDL_DRDY_EXTI8_GPIO_Port, LSM3MDL_DRDY_EXTI8_Pin, LL_GPIO_MODE_INPUT);

  /**/
  LL_GPIO_SetPinMode(PMOD_IRQ_EXTI12_GPIO_Port, PMOD_IRQ_EXTI12_Pin, LL_GPIO_MODE_INPUT);

  /**/
  LL_GPIO_SetPinMode(ISM43362_DRDY_EXTI1_GPIO_Port, ISM43362_DRDY_EXTI1_Pin, LL_GPIO_MODE_INPUT);

  /**/
  LL_GPIO_EnablePinAnalogControl(GPIOC, ARD_A5_Pin|ARD_A4_Pin|ARD_A3_Pin|ARD_A2_Pin
                          |ARD_A1_Pin|ARD_A0_Pin);

  /**/
  LL_GPIO_EnablePinAnalogControl(ARD_D7_GPIO_Port, ARD_D7_Pin);

  /**/
  LL_GPIO_EnablePinAnalogControl(ARD_D6_GPIO_Port, ARD_D6_Pin);

  /* EXTI interrupt init*/
  NVIC_SetPriority(EXTI9_5_IRQn, NVIC_EncodePriority(NVIC_GetPriorityGrouping(),0, 0));
  NVIC_EnableIRQ(EXTI9_5_IRQn);
  NVIC_SetPriority(EXTI15_10_IRQn, NVIC_EncodePriority(NVIC_GetPriorityGrouping(),0, 0));
  NVIC_EnableIRQ(EXTI15_10_IRQn);

}

void Error_Handler(void)
{
  __disable_irq();
  while (1)
  {
  }
}
